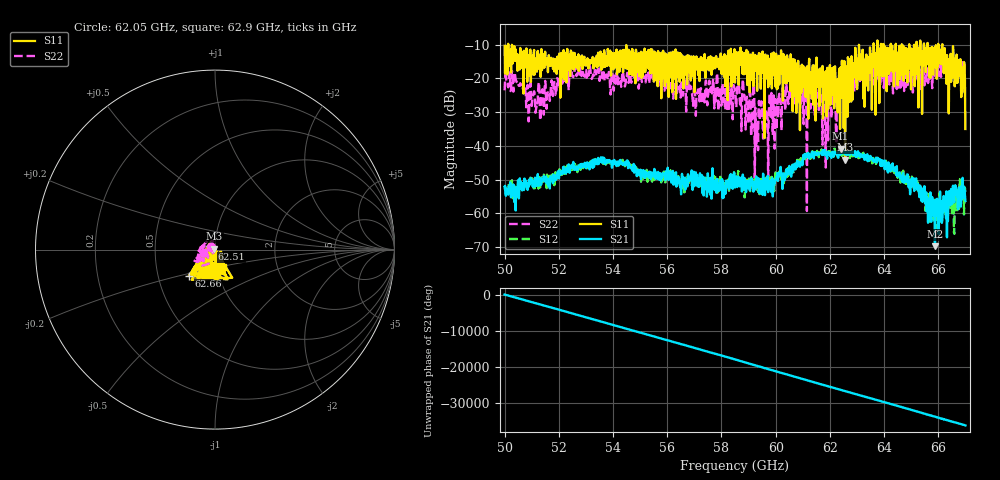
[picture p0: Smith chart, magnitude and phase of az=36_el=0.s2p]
!Created with skrf (http://scikit-rf.org).
# GHz S RI R 50.0
!freq ReS11 ImS11 ReS21 ImS21 ReS12 ImS12 ReS22 ImS22
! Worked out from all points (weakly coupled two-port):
!   1001 points, 50 GHz to 67 GHz, reference 50 ohm
!   highest |S21| = -40.78 dB at 62.39 GHz (marker M1); lowest = -69.7 dB at 65.88 GHz (marker M2)
!   lowest |S11| = -44.1 dB at 62.56 GHz (marker M3), VSWR 1.01, Z = 49.7 + j0.551 ohm
!   |S11| at or under -10 dB: 50.14 GHz to 63.62 GHz (13.48 GHz wide, 23.7 % of centre); 65.61 GHz to 66 GHz (389 MHz wide, 0.591 % of centre); 66.15 GHz to end of sweep (the widest 3 of 16)
!   |S22| runs from -59.3 to -13.9 dB; largest |S21 - S12| = 0.0028
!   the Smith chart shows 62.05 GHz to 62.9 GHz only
!   S11 on the Smith chart (normalised r, x): 62.05 GHz: 0.97, -0.28; 62.51 GHz: 0.97, +0.01; 62.66 GHz: 0.72, -0.22; 62.9 GHz: 1.08, -0.22
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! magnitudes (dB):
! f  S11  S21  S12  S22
! 50 GHz  -10.4  -52.0  -53.0  -23.5
! 51.38 GHz  -17.5  -49.7  -49.5  -23.5
! 52.84 GHz  -14.4  -46.3  -46.4  -19.3
! 55.68 GHz  -13.7  -49.2  -48.4  -22.2
! 58.5 GHz  -21.2  -52.3  -51.8  -23.6
! 59.13 GHz  -16.1  -51.7  -50.9  -34.6
! 59.32 GHz  -23.7  -51.7  -50.4  -37.2
! 60.64 GHz  -14.3  -47.2  -47.5  -21.9
! 61.08 GHz  -25.2  -42.5  -43.1  -20.9
! 61.34 GHz  -25.9  -41.8  -42.6  -24.0
! 61.78 GHz  -18.1  -41.5  -42.4  -20.8
! 62.05 GHz  -17.0  -43.5  -42.0  -31.8
! 62.39 GHz  -16.8  -40.8  -42.0  -18.9
! 62.51 GHz  -34.7  -41.2  -41.6  -22.0
! 62.56 GHz  -44.1  -42.5  -43.1  -18.6
! 62.66 GHz  -13.7  -42.0  -42.7  -21.6
! 62.9 GHz  -19.2  -42.1  -42.9  -23.9
! 64.18 GHz  -18.7  -46.6  -47.6  -18.8
! 65.88 GHz  -10.8  -69.7  -57.7  -16.6
! 66.75 GHz  -19.5  -53.5  -53.9  -18.9
! 66.9 GHz  -16.7  -49.5  -55.6  -15.4
! 67 GHz  -35.0  -56.3  -53.7  -15.9
